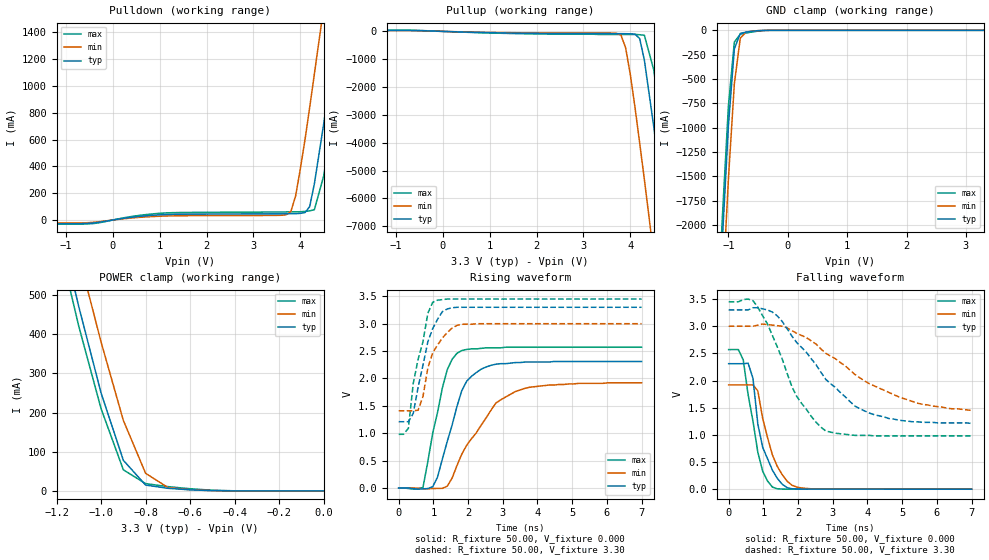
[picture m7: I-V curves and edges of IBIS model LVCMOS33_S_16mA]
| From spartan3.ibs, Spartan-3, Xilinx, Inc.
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|   Model LVCMOS33_S_16mA
[Model]   LVCMOS33_S_16mA
Model_type   I/O
Polarity   Non-Inverting
Enable   Active-Low
Vinl =   0.80V
Vinh =   2.00V
Vmeas =   1.65V
Cref =  0.000F
Rref =  1.00M
Vref =  0.000V
C_comp   6.38pF   4.60pF   8.23pF
[Temperature Range]   25.00   85.00   0.000
[Voltage Range]   3.30V   3.00V   3.45V
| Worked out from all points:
|   slope of the pulldown table from 0 to 0.495 V, typ, clamps not added: 20.4 ohm
|   slope of the pullup table from 0 to 0.495 V, typ, clamps not added: 19.3 ohm
|   GND clamp passes 1 mA (typ) near -0.41 V on its own axis
|   POWER clamp passes 1 mA (typ) near -0.52 V on its own axis
|   rising waveform, R_fixture 50.00, V_fixture 0.000: 20-80 % time 645ps typ, 1.12ns min, 507ps max; typ from 0 V to 2.31 V
|   rising waveform, R_fixture 50.00, V_fixture 3.30: 20-80 % time 466ps typ, 482ps min, 431ps max; typ from 1.21 V to 3.3 V
|   falling waveform, R_fixture 50.00, V_fixture 0.000: 20-80 % time 453ps typ, 518ps min, 416ps max; typ from 2.31 V to 0 V
|   falling waveform, R_fixture 50.00, V_fixture 3.30: 20-80 % time 1.71ns typ, 2.22ns min, 1.06ns max; typ from 3.3 V to 1.21 V
[Pulldown]
| voltage   I(typ)   I(min)   I(max)
-3.3V     -27.67mA   -22.28mA   -30.51mA
-500mV    -24.77mA   -19.29mA   -28.21mA
3.7V      46.62mA    39.13mA    60.38mA
3.8V      46.87mA    64.93mA    60.7mA
3.9V      47.58mA    180mA      61.12mA
4.2V      100mA      840mA      68.23mA
4.3V      270mA      1.09A      77.12mA
4.5V      720mA      1.59A      330mA
4.7V      1.21A      2.1A       790mA
4.9V      1.72A      2.61A      1.29A
5.1V      2.23A      3.13A      1.8A
6.6V      6.17A      7.07A      5.73A
[Pullup]
| voltage   I(typ)   I(min)   I(max)
-3.3V     35.47mA    28.43mA    39.51mA
3.8V      -82.35mA   -130mA     -110mA
3.9V      -83.4mA    -590mA     -110mA
4V        -86.83mA   -1.55A     -110mA
4.1V      -97.73mA   -2.73A     -110mA
4.2V      -260mA     -4.01A     -120mA
4.3V      -1.03A     -5.32A     -140mA
4.5V      -3.42A     -8.04A     -1.38A
4.7V      -6.09A     -10.8A     -3.86A
4.9V      -8.85A     -13.59A    -6.55A
5.1V      -11.64A    -16.41A    -9.32A
6.6V      -33A       -37.78A    -30.66A
[GND_clamp]
| voltage   I(typ)   I(min)   I(max)
-3.3V     -33A       -33.48A    -32.8A
-1.2V     -3.4A      -4A        -3.16A
-1.1V     -2.13A     -2.72A     -1.9A
-1V       -980mA     -1.53A     -780mA
-900mV    -190mA     -550mA     -120mA
-800mV    -31.95mA   -81.14mA   -40.65mA
-700mV    -17.68mA   -16.88mA   -27.48mA
-400mV    -680uA     -760uA     -2.23mA
3.3V      5.7nA      14.1uA     38.75nA
[POWER_clamp]
| voltage   I(typ)   I(min)   I(max)
-3.3V     6.17A      6.28A      6.12A
-1.2V     710mA      840mA      660mA
-1.1V     470mA      600mA      420mA
-1V       250mA      380mA      210mA
-900mV    78.2mA     180mA      53.88mA
-800mV    14.96mA    44.93mA    18.61mA
-700mV    6.69mA     8.78mA     10.98mA
-600mV    2.8mA      2.96mA     5.51mA
-400mV    81.6uA     140uA      290uA
0V        5.7nA      29.91nA    46.43nA
[Ramp]
| variable   typ   min   max
dV/dt_r   1.39/0.71n   1.15/1.15n   1.54/0.46n
dV/dt_f   1.25/1.68n   0.93/2.20n   1.48/1.06n
R_load = 50.00
[Rising Waveform]
R_fixture = 50.00
V_fixture = 0.000
| time   V(typ)   V(min)   V(max)
0s        0V         0V         0V
700ps     -16.55mV   -16.24mV   9.19mV
1.12ns    200mV      -7.91mV    1.38V
1.4ns     850mV      33.64mV    2.16V
1.68ns    1.49V      410mV      2.46V
1.96ns    1.95V      780mV      2.53V
2.24ns    2.11V      1.01V      2.54V
2.8ns     2.26V      1.55V      2.56V
3.36ns    2.29V      1.76V      2.57V
7ns       2.31V      1.92V      2.57V
[Rising Waveform]
R_fixture = 50.00
V_fixture = 3.30
V_fixture_min = 3.00
V_fixture_max = 3.45
| time   V(typ)   V(min)   V(max)
0s        1.21V      1.41V      980mV
280ps     1.21V      1.41V      1.09V
420ps     1.36V      1.41V      1.91V
560ps     1.84V      1.42V      2.35V
700ps     2.24V      1.67V      2.67V
840ps     2.67V      2.19V      3.19V
980ps     2.91V      2.47V      3.39V
1.26ns    3.22V      2.74V      3.44V
1.82ns    3.3V       2.99V      3.45V
7ns       3.3V       3V         3.45V
[Falling Waveform]
R_fixture = 50.00
V_fixture = 0.000
| time   V(typ)   V(min)   V(max)
0s        2.31V      1.92V      2.57V
420ps     2.31V      1.92V      2.38V
560ps     2.32V      1.92V      1.74V
700ps     2.04V      1.92V      1.25V
840ps     1.2V       1.81V      680mV
980ps     770mV      1.3V       330mV
1.26ns    350mV      630mV      38.58mV
1.68ns    29.21mV    150mV      1.3mV
2.1ns     1.85mV     22.21mV    860uV
7ns       6.85uV     66.32uV    840nV
[Falling Waveform]
R_fixture = 50.00
V_fixture = 3.30
V_fixture_min = 3.00
V_fixture_max = 3.45
| time   V(typ)   V(min)   V(max)
0s        3.3V       3V         3.45V
700ps     3.34V      3V         3.47V
1.12ns    3.3V       3.03V      3.04V
1.4ns     3.19V      3.01V      2.62V
1.96ns    2.7V       2.87V      1.71V
2.8ns     2.02V      2.5V       1.07V
3.64ns    1.53V      2.11V      990mV
4.2ns     1.37V      1.9V       980mV
5.46ns    1.24V      1.58V      980mV
7ns       1.21V      1.45V      980mV
